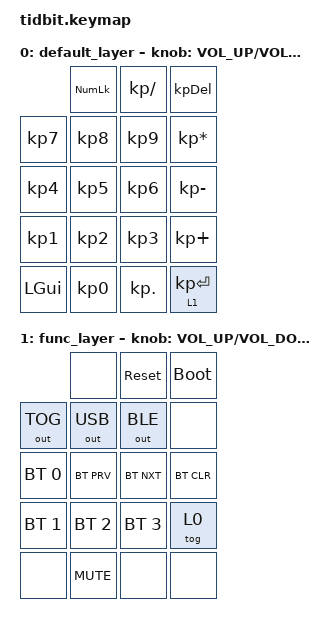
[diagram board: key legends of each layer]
/*
 * Copyright (c) 2020 The ZMK Contributors
 *
 * SPDX-License-Identifier: MIT
 */

#include <behaviors.dtsi>
#include <dt-bindings/zmk/bt.h>
#include <dt-bindings/zmk/outputs.h>
#include <dt-bindings/zmk/keys.h>

&encoder_1_top_row {
    status = "okay";
};

/ {
    sensors: sensors {
        compatible = "zmk,keymap-sensors";
        sensors = <&encoder_1_top_row>;
        triggers-per-rotation = <20>;
    };

    keymap {
        compatible = "zmk,keymap";

        default_layer {
            bindings = <
                                &kp KP_NUMLOCK  &kp KP_SLASH    &kp KP_DELETE
                &kp KP_NUMBER_7 &kp KP_NUMBER_8 &kp KP_NUMBER_9 &kp KP_ASTERISK
                &kp KP_NUMBER_4 &kp KP_NUMBER_5 &kp KP_NUMBER_6 &kp KP_MINUS
                &kp KP_NUMBER_1 &kp KP_NUMBER_2 &kp KP_NUMBER_3 &kp KP_PLUS
                &kp LGUI        &kp KP_NUMBER_0 &kp KP_DOT      &lt 1 KP_ENTER
            >;

            sensor-bindings = <&inc_dec_kp C_VOLUME_UP C_VOLUME_DOWN>;
        };

         func_layer {
             bindings = <
                                &none           &sys_reset          &bootloader
                &out OUT_TOG    &out OUT_USB    &out OUT_BLE    &none
                &bt BT_SEL 0    &bt BT_PRV      &bt BT_NXT      &bt BT_CLR
                &bt BT_SEL 1    &bt BT_SEL 2    &bt BT_SEL 3    &tog 0
                &none           &kp C_MUTE      &none           &none
             >;

             sensor-bindings = <&inc_dec_kp C_VOLUME_UP C_VOLUME_DOWN>;
         };
    };
};
